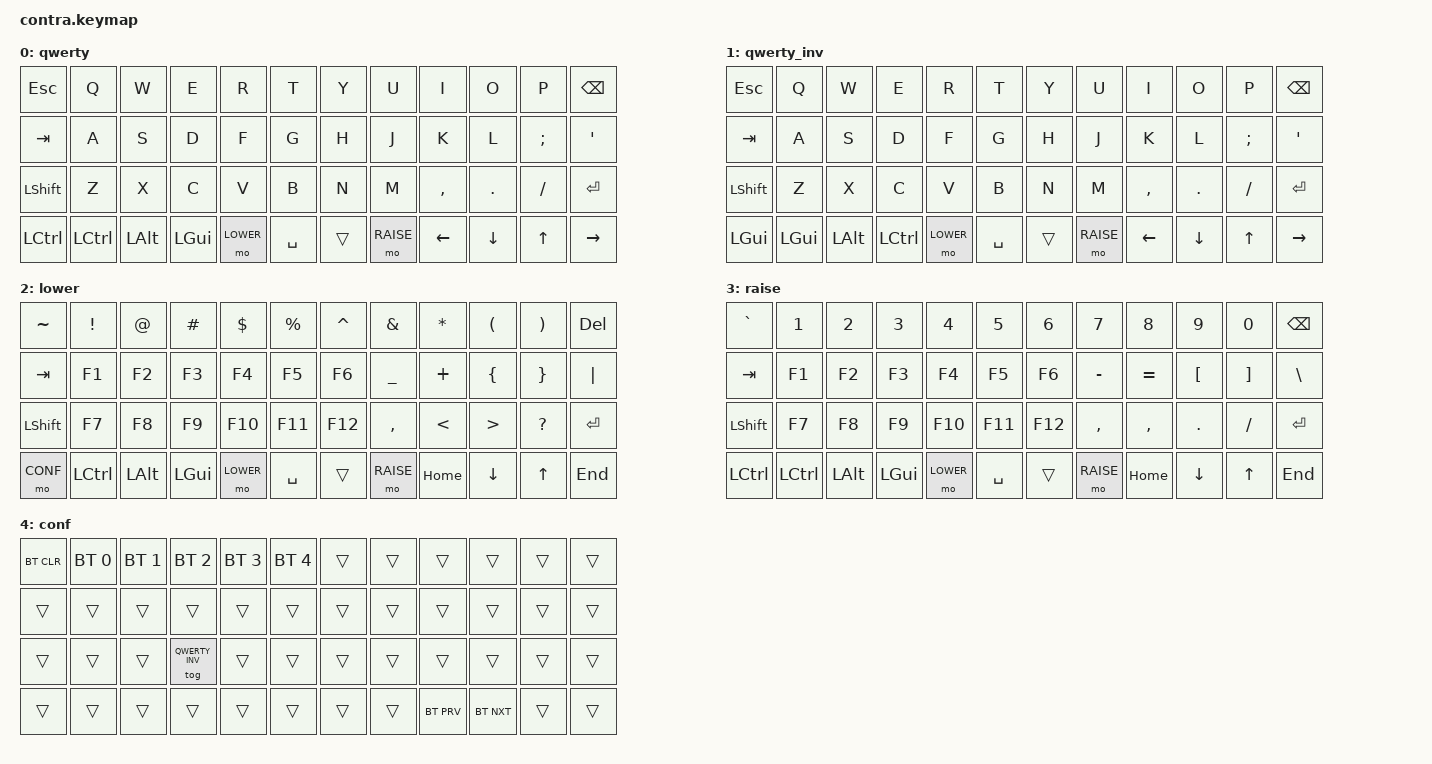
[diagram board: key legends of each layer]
/*
 * Copyright (c) 2021 The ZMK Contributors
 *
 * SPDX-License-Identifier: MIT
 */

#include <behaviors.dtsi>
#include <dt-bindings/zmk/keys.h>
#include <dt-bindings/zmk/bt.h>

#define QWERTY 0
#define QWERTY_INV 1
#define LOWER  2
#define RAISE  3
#define CONF   4

/ {
    keymap {
        compatible = "zmk,keymap";

        /* Qwerty
         * ,-----------------------------------------------------------------------------------.
         * | Esc  |   Q  |   W  |   E  |   R  |   T  |   Y  |   U  |   I  |   O  |   P  | Bksp |
         * |------+------+------+------+------+------+------+------+------+------+------+------|
         * | Tab  |   A  |   S  |   D  |   F  |   G  |   H  |   J  |   K  |   L  |   ;  |  '   |
         * |------+------+------+------+------+------+------+------+------+------+------+------|
         * | Shift|   Z  |   X  |   C  |   V  |   B  |   N  |   M  |   ,  |   .  |   /  |Enter |
         * |------+------+------+------+------+------+------+------+------+------+------+------|
         * | Ctrl | Ctrl | Alt  | GUI  |Lower |    Space    |Raise | Left | Down |  Up  |Right |
         * `-----------------------------------------------------------------------------------'
         */
        qwerty {
            bindings = <
    &kp ESC    &kp Q      &kp W     &kp E     &kp R      &kp T      &kp Y   &kp U      &kp I      &kp O     &kp P     &kp BSPC
    &kp TAB    &kp A      &kp S     &kp D     &kp F      &kp G      &kp H   &kp J      &kp K      &kp L     &kp SEMI  &kp SQT
    &kp LSHFT  &kp Z      &kp X     &kp C     &kp V      &kp B      &kp N   &kp M      &kp COMMA  &kp DOT   &kp FSLH  &kp ENTER
    &kp LCTRL  &kp LCTRL  &kp LALT  &kp LGUI  &mo LOWER  &kp SPACE  &trans  &mo RAISE  &kp LEFT   &kp DOWN  &kp UP    &kp RIGHT 
            >;
        };

        /* Qwerty Inv
         * ,-----------------------------------------------------------------------------------.
         * | Esc  |   Q  |   W  |   E  |   R  |   T  |   Y  |   U  |   I  |   O  |   P  | Bksp |
         * |------+------+------+------+------+------+------+------+------+------+------+------|
         * | Tab  |   A  |   S  |   D  |   F  |   G  |   H  |   J  |   K  |   L  |   ;  |  '   |
         * |------+------+------+------+------+------+------+------+------+------+------+------|
         * | Shift|   Z  |   X  |   C  |   V  |   B  |   N  |   M  |   ,  |   .  |   /  |Enter |
         * |------+------+------+------+------+------+------+------+------+------+------+------|
         * | GUI  | GUI  | Alt  | Ctrl |Lower |    Space    |Raise | Left | Down |  Up  |Right |
         * `-----------------------------------------------------------------------------------'
         */
        qwerty_inv {
            bindings = <
    &kp ESC    &kp Q      &kp W     &kp E     &kp R      &kp T      &kp Y   &kp U      &kp I      &kp O     &kp P     &kp BSPC
    &kp TAB    &kp A      &kp S     &kp D     &kp F      &kp G      &kp H   &kp J      &kp K      &kp L     &kp SEMI  &kp SQT
    &kp LSHFT  &kp Z      &kp X     &kp C     &kp V      &kp B      &kp N   &kp M      &kp COMMA  &kp DOT   &kp FSLH  &kp ENTER
    &kp LGUI   &kp LGUI   &kp LALT  &kp LCTRL &mo LOWER  &kp SPACE  &trans  &mo RAISE  &kp LEFT   &kp DOWN  &kp UP    &kp RIGHT
            >;
        };
        
        
        /* Lower
         * ,-----------------------------------------------------------------------------------.
         * |   ~  |   !  |   @  |   #  |   $  |   %  |   ^  |   &  |   *  |   (  |   )  | Del  |
         * |------+------+------+------+------+------+------+------+------+------+------+------|
         * | Tab  |  F1  |  F2  |  F3  |  F4  |  F5  |  F6  |   _  |   +  |   {  |   }  |  |   |
         * |------+------+------+------+------+------+------+------+------+------+------+------|
         * | Shift|  F7  |  F8  |  F9  |  F10 |  F11 |  F12 |   ,  |   <  |   >  |   ?  |Enter |
         * |------+------+------+------+------+------+------+------+------+------+------+------|
         * | Conf |      |      |      |      |             |      | Home | Down |  Up  | End  |
         * `-----------------------------------------------------------------------------------'
         */
        lower {
            bindings = <
    &kp TILDE  &kp EXCL   &kp AT    &kp HASH  &kp DOLLAR &kp PRCNT  &kp CARET  &kp AMPS   &kp STAR  &kp LPAR  &kp RPAR  &kp DEL
    &kp TAB    &kp F1     &kp F2    &kp F3    &kp F4     &kp F5     &kp F6     &kp UNDER  &kp PLUS  &kp LBRC  &kp RBRC  &kp PIPE
    &kp LSHFT  &kp F7     &kp F8    &kp F9    &kp F10    &kp F11    &kp F12    &kp COMMA  &kp LT    &kp GT    &kp QMARK &kp ENTER
    &mo CONF  &kp LCTRL  &kp LALT  &kp LGUI  &mo LOWER  &kp SPACE  &trans     &mo RAISE  &kp HOME  &kp DOWN  &kp UP    &kp END
            >;
        };

        /* Raise
         * ,-----------------------------------------------------------------------------------.
         * |   `  |   1  |   2  |   3  |   4  |   5  |   6  |   7  |   8  |   9  |   0  | Bksp |
         * |------+------+------+------+------+------+------+------+------+------+------+------|
         * | Tab  |  F1  |  F2  |  F3  |  F4  |  F5  |  F6  |   -  |   =  |   [  |   ]  |  \   |
         * |------+------+------+------+------+------+------+------+------+------+------+------|
         * | Shift|  F7  |  F8  |  F9  |  F10 |  F11 |  F12 |   ,  |   ,  |   .  |   /  |Enter |
         * |------+------+------+------+------+------+------+------+------+------+------+------|
         * |      |      |      |      |      |             |      | Home | Down |  Up  | End  |
         * `-----------------------------------------------------------------------------------'
         */
        raise {
            bindings = <
    &kp GRAVE  &kp N1     &kp N2     &kp N3     &kp N4     &kp N5     &kp N6     &kp N7     &kp N8     &kp N9     &kp N0     &kp BSPC
    &kp TAB    &kp F1     &kp F2     &kp F3     &kp F4     &kp F5     &kp F6     &kp MINUS  &kp EQUAL  &kp LBKT   &kp RBKT   &kp BSLH
    &kp LSHFT  &kp F7     &kp F8     &kp F9     &kp F10    &kp F11    &kp F12    &kp COMMA  &kp COMMA  &kp DOT    &kp FSLH   &kp ENTER
    &kp LCTRL  &kp LCTRL  &kp LALT   &kp LGUI   &mo LOWER  &kp SPACE  &trans     &mo RAISE  &kp HOME   &kp DOWN   &kp UP     &kp END
            >;
        };

        /* Conf
         *                      v------------------------BT CONTROL--------------------v
         * ,-----------------------------------------------------------------------------------.
         * |BT_CLR| BT_1 | BT_2 | BT_3 | BT_4 |      |      |      |      |      |      |      |
         * |------+------+------+------+------+------+------+------+------+------+------+------|
         * |      |      |      |      |      |      |      |      |      |      |      |      |
         * |------+------+------+------+------+------+------+------+------+------+------+------|
         * |      |      |      |      | INV  |      |      |      |      |      |      |      |
         * |------+------+------+------+------+------+------+------+------+------+------+------|
         * |      |      |      |      |      |             |      |BT_PRV|BT_NXT|      |      |
         * `-----------------------------------------------------------------------------------'
         */
        conf {
            bindings = <
    &bt BT_CLR &bt BT_SEL 0 &bt BT_SEL 1 &bt BT_SEL 2 &bt BT_SEL 3 &bt BT_SEL 4 &trans    &trans    &trans     &trans     &trans   &trans
    &trans     &trans       &trans       &trans       &trans       &trans       &trans    &trans    &trans     &trans     &trans   &trans
    &trans     &trans       &trans       &tog QWERTY_INV  &trans       &trans       &trans    &trans    &trans     &trans     &trans   &trans
    &trans     &trans       &trans       &trans       &trans       &trans       &trans    &trans    &bt BT_PRV &bt BT_NXT &trans   &trans
            >;
        };
    };
};
